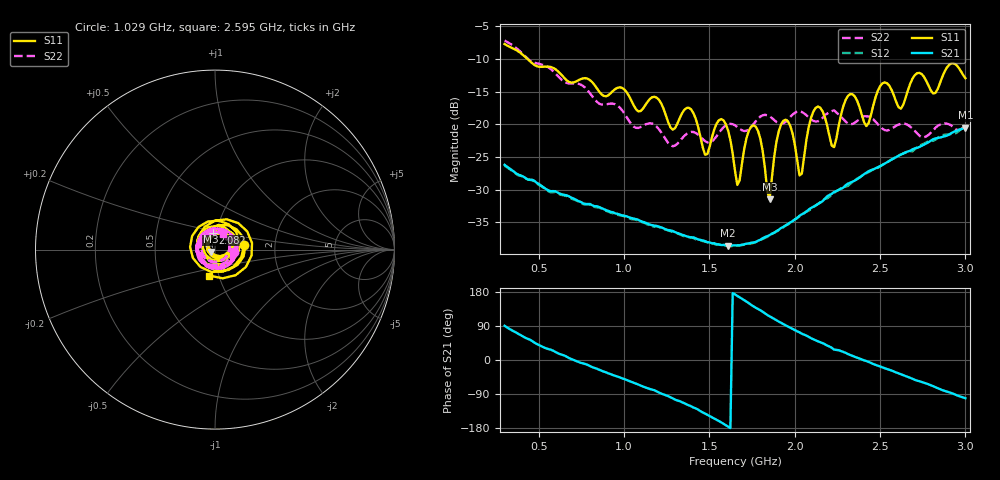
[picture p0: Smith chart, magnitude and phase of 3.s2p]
!CEYEAR,3656B,QZNG000070,1.3.8
!Calibration ON (Full Solt 2-Port(Omit Isolation))
!Measurements: S11 S21 S12 S22
!2025-12-27 10:42
# Hz  S  dB  R 50.000
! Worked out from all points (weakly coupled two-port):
!   201 points, 300 MHz to 3 GHz, reference 50 ohm
!   highest |S21| = -20.51 dB at 3 GHz (marker M1); lowest = -38.6 dB at 1.609 GHz (marker M2)
!   lowest |S11| = -31.5 dB at 1.853 GHz (marker M3), VSWR 1.05, Z = 47.7 - j1.19 ohm
!   |S11| at or under -10 dB: 434.3 MHz to end of sweep
!   |S22| runs from -23.3 to -7.2 dB; largest |S21 - S12| = 0.0054
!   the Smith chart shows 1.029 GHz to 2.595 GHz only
!   S11 on the Smith chart (normalised r, x): 1.029 GHz: 1.39, +0.07; 2.082 GHz: 0.96, +0.18; 2.595 GHz: 0.90, -0.27
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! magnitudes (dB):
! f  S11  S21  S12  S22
! 300 MHz  -7.7  -26.2  -26.3  -7.2
! 759 MHz  -13.0  -32.1  -32.2  -14.1
! 1.029 GHz  -15.7  -34.2  -34.4  -19.5
! 1.204 GHz  -16.2  -35.7  -35.7  -20.8
! 1.286 GHz  -20.8  -36.3  -36.5  -23.3
! 1.393 GHz  -17.7  -37.3  -37.3  -21.2
! 1.474 GHz  -24.6  -37.9  -38.0  -22.6
! 1.609 GHz  -20.9  -38.6  -38.6  -20.0
! 1.65 GHz  -27.1  -38.5  -38.6  -20.2
! 1.772 GHz  -20.3  -38.0  -38.0  -19.5
! 1.853 GHz  -31.5  -37.0  -37.0  -18.8
! 1.92 GHz  -20.0  -35.9  -36.0  -19.9
! 1.974 GHz  -20.2  -35.0  -35.1  -18.8
! 2.028 GHz  -27.8  -34.0  -34.1  -18.0
! 2.082 GHz  -20.4  -33.0  -33.2  -18.9
! 2.109 GHz  -18.0  -32.6  -32.7  -19.5
! 2.231 GHz  -23.5  -30.4  -30.5  -17.8
! 2.312 GHz  -15.6  -29.1  -29.4  -19.9
! 2.42 GHz  -20.3  -27.4  -27.5  -18.8
! 2.554 GHz  -14.1  -25.6  -25.6  -20.9
! 2.595 GHz  -16.6  -25.0  -24.9  -20.2
! 3 GHz  -12.9  -20.5  -20.4  -20.1
